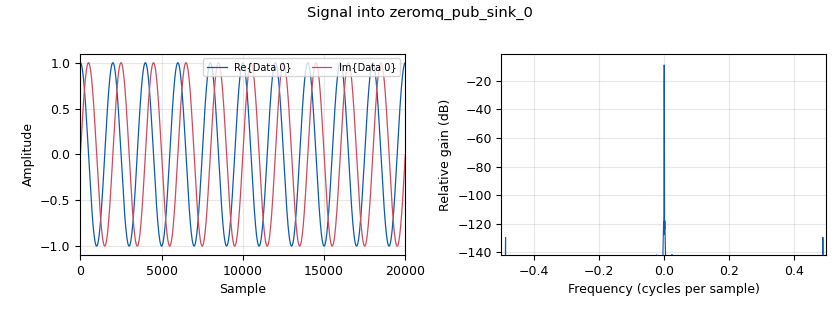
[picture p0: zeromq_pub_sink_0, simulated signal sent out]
options:
  parameters:
    author: emmanuelkwakyenyantakyi
    generate_options: qt_gui
    id: zeromq_stream_packet_size
    output_language: python
    title: Checking the packet size of a ZeroMq stream
  states: {}

blocks:
- name: samp_rate
  id: variable
  parameters:
    value: 2e6
  states: {}
- name: vec_length
  id: variable
  parameters:
    value: '64'
  states: {}
- name: analog_sig_source_x_0
  id: analog_sig_source_x
  parameters:
    amp: '1'
    freq: '1000'
    offset: '0'
    phase: '0'
    samp_rate: samp_rate
    type: complex
    waveform: analog.GR_COS_WAVE
  states: {}
- name: blocks_stream_to_vector_0
  id: blocks_stream_to_vector
  parameters:
    num_items: vec_length
    type: complex
  states: {}
- name: blocks_throttle2_0
  id: blocks_throttle2
  parameters:
    samples_per_second: samp_rate
    type: complex
  states: {}
- name: epy_block_0
  id: epy_block
  parameters:
    _source_code: |
      """
      Embedded Python Blocks:

      Each time this file is saved, GRC will instantiate the first class it finds
      to get ports and parameters of your block. The arguments to __init__  will
      be the parameters. All of them are required to have default values!
      """

      import numpy as np
      from gnuradio import gr


      class blk(gr.sync_block):  # other base classes are basic_block, decim_block, interp_block

          def __init__(self):  # only default arguments here
              gr.sync_block.__init__(
                  self,
                  name='ZMQ size',   # will show up in GRC
                  in_sig=[(np.complex64, 64)],
                  out_sig=[]
              )
              self.n = 0

          def work(self, input_items, output_items):
              if self.n < 100:
                  print(len(input_items[0]))
              self.n = self.n + 1
              return 0
  states: {}
- name: zeromq_pub_sink_0
  id: zeromq_pub_sink
  parameters:
    address: tcp://127.0.0.1:5555
    timeout: '100'
    type: complex
    vlen: vec_length
  states: {}
- name: zeromq_sub_source_0
  id: zeromq_sub_source
  parameters:
    address: tcp://127.0.0.1:5555
    timeout: '100'
    type: complex
    vlen: vec_length
  states: {}

connections:
- [analog_sig_source_x_0, '0', blocks_throttle2_0, '0']
- [blocks_stream_to_vector_0, '0', zeromq_pub_sink_0, '0']
- [blocks_throttle2_0, '0', blocks_stream_to_vector_0, '0']
- [zeromq_sub_source_0, '0', epy_block_0, '0']

metadata:
  file_format: 1
  grc_version: 3.10.12.0
